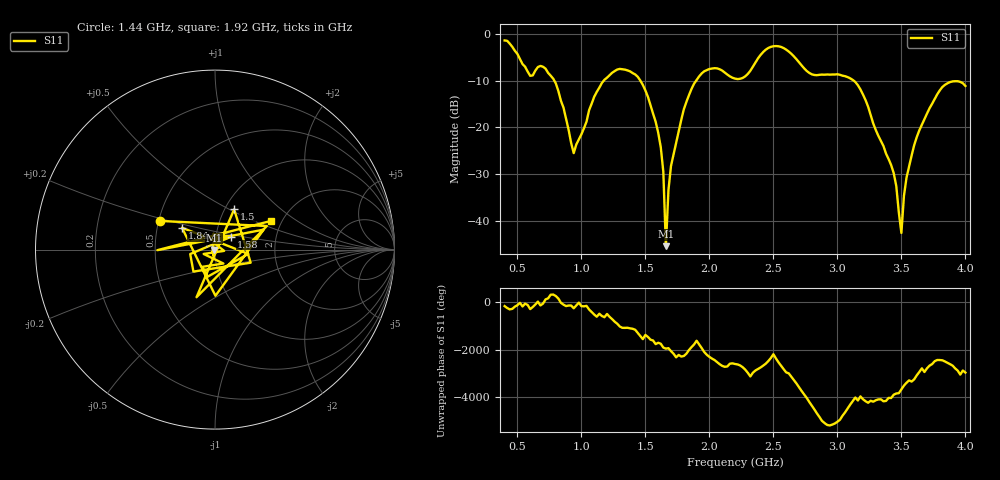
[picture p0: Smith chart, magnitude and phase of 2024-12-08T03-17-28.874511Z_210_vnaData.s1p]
!Created with skrf (http://scikit-rf.org).
# Hz S RI R 50.0
!freq ReS11 ImS11
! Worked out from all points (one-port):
!   181 points, 400 MHz to 4 GHz, reference 50 ohm
!   lowest |S11| = -45.4 dB at 1.66 GHz (marker M1), VSWR 1.01, Z = 49.5 - j0.244 ohm
!   |S11| at or under -10 dB: 788.2 MHz to 1.175 GHz (386.4 MHz wide, 39.4 % of centre); 1.461 GHz to 1.897 GHz (435.9 MHz wide, 26 % of centre); 3.127 GHz to end of sweep
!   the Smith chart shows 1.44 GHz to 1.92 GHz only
!   S11 on the Smith chart (normalised r, x): 1.44 GHz: 0.51, +0.18; 1.5 GHz: 1.11, +0.53; 1.58 GHz: 1.18, +0.17; 1.84 GHz: 0.67, +0.17; 1.92 GHz: 1.76, +0.64
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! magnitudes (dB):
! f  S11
! 400 MHz  -1.4
! 600 MHz  -9.0
! 720 MHz  -7.4
! 860 MHz  -15.8
! 940 MHz  -25.5
! 1.12 GHz  -12.4
! 1.3 GHz  -7.5
! 1.44 GHz  -9.2
! 1.5 GHz  -12.1
! 1.58 GHz  -18.8
! 1.64 GHz  -29.5
! 1.66 GHz  -45.4
! 1.68 GHz  -33.4
! 1.7 GHz  -28.2
! 1.76 GHz  -20.8
! 1.84 GHz  -13.1
! 1.92 GHz  -9.1
! 2.2 GHz  -9.6
! 2.48 GHz  -2.8
! 2.66 GHz  -4.8
! 3.1 GHz  -9.5
! 3.42 GHz  -28.0
! 3.46 GHz  -32.5
! 3.5 GHz  -42.5
! 3.52 GHz  -34.6
! 3.56 GHz  -28.3
! 3.8 GHz  -12.1
! 4 GHz  -11.1
